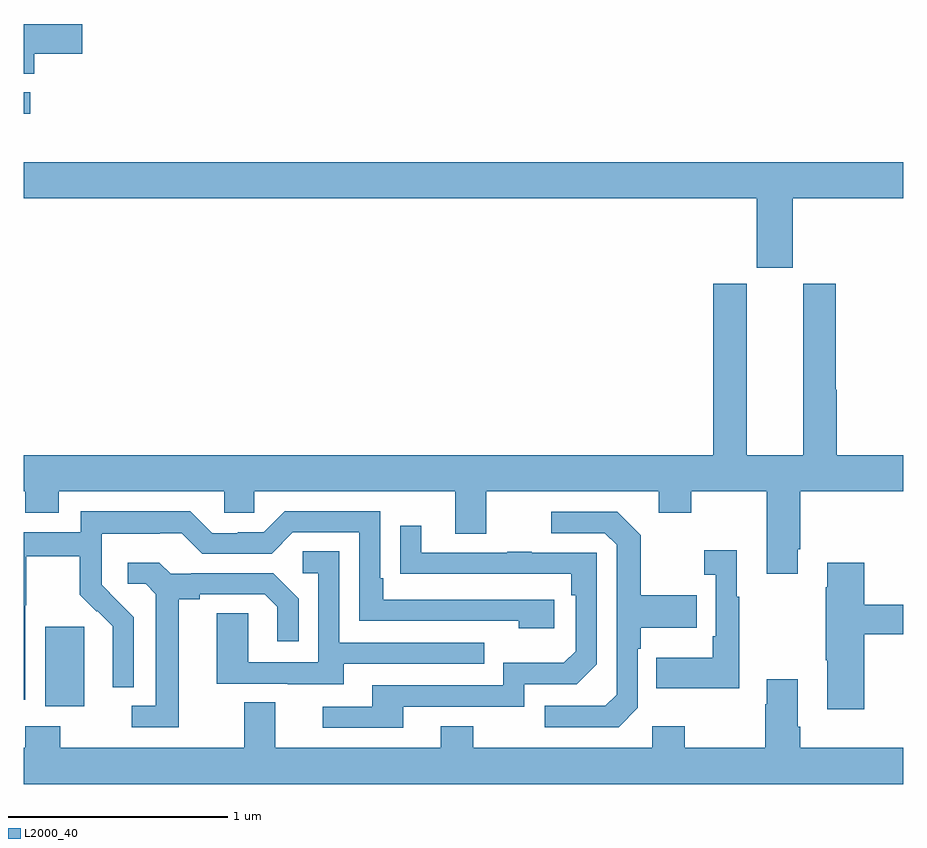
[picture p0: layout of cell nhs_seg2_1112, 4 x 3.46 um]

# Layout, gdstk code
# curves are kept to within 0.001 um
import gdstk
lib = gdstk.Library(unit=1e-6, precision=1e-09)
def R(c, l, rs):  # rectangles x0, y0, x1, y1
    for r in rs: c.add(gdstk.rectangle(r[:2], r[2:], *l))
def P(c, l, *ps):  # polygons
    for p in ps: c.add(gdstk.Polygon(p, *l))
L2000_40 = (2000, 40)

nhs_seg2_1112 = lib.new_cell('nhs_seg2_1112')
R(nhs_seg2_1112, L2000_40, [(169.097,606.698,169.276,607.059), (169,609.391,169.03,609.489)])
P(nhs_seg2_1112, L2000_40, [(169.049,609.665),(169.267,609.665),(169.267,609.8),(169,609.8),(169,609.574),(169.049,609.574)],
  [(172.498,609.008),(173,609.008),(173,609.172),(169,609.172),(169,609.008),(172.334,609.008),(172.334,608.691),(172.498,608.691)],
  [(172.519,607.411),(172.532,607.411),(172.532,607.676),(173,607.676),(173,607.84),(172.697,607.84),(172.697,608.136),(172.692,608.136),(172.692,608.619),(172.544,608.619),(172.544,607.84),(172.288,607.84),(172.288,608.619),(172.136,608.619),(172.136,607.84),(169,607.84),(169,607.676),(169.007,607.676),(169.007,607.577),(169.159,607.577),(169.159,607.676),(169.911,607.676),(169.911,607.578),(170.049,607.578),(170.049,607.676),(170.963,607.676),(170.963,607.482),(171.103,607.482),(171.103,607.676),(171.887,607.676),(171.887,607.577),(172.035,607.577),(172.035,607.676),(172.379,607.676),(172.379,607.299),(172.519,607.299)],
  [(169.008,607.156),(169.011,607.156),(169.011,607.38),(169.255,607.38),(169.255,607.205),(169.332,607.128),(169.335,607.131),(169.406,607.061),(169.406,606.938),(169.404,606.938),(169.404,606.784),(169.5,606.784),(169.5,607.102),(169.354,607.25),(169.354,607.347),(169.356,607.347),(169.356,607.481),(169.619,607.481),(169.619,607.485),(169.719,607.485),(169.812,607.392),(170.127,607.392),(170.223,607.488),(170.526,607.488),(170.526,607.086),(171.251,607.086),(171.251,607.052),(171.412,607.052),(171.412,607.182),(170.635,607.182),(170.635,607.279),(170.622,607.279),(170.622,607.584),(170.187,607.584),(170.091,607.488),(169.973,607.488),(169.973,607.485),(169.857,607.485),(169.757,607.585),(169.26,607.585),(169.26,607.488),(169,607.488),(169,606.727),(169.008,606.727)],
  [(171.792,606.69),(171.792,606.959),(171.805,606.959),(171.805,607.055),(172.061,607.055),(172.061,607.203),(171.805,607.203),(171.805,607.475),(171.699,607.581),(171.399,607.581),(171.399,607.485),(171.642,607.485),(171.696,607.431),(171.696,606.75),(171.645,606.699),(171.369,606.699),(171.369,606.603),(171.705,606.603)],
  [(170.725,606.696),(171.276,606.696),(171.276,606.798),(171.516,606.798),(171.606,606.888),(171.606,607.395),(171.311,607.395),(171.311,607.4),(171.199,607.4),(171.199,607.395),(170.809,607.395),(170.809,607.519),(170.713,607.519),(170.713,607.3),(171.49,607.299),(171.49,607.202),(171.51,607.202),(171.51,606.948),(171.457,606.895),(171.18,606.895),(171.18,606.792),(170.585,606.792),(170.585,606.696),(170.361,606.696),(170.361,606.6),(170.725,606.6)],
  [(172.255,607.195),(172.243,607.195),(172.243,607.408),(172.095,607.408),(172.095,607.295),(172.146,607.295),(172.146,607.015),(172.134,607.015),(172.134,606.919),(171.877,606.919),(171.877,606.779),(172.255,606.779)],
  [(170.455,606.891),(171.095,606.891),(171.095,606.987),(170.436,606.987),(170.436,607.403),(170.268,607.403),(170.268,607.302),(170.34,607.302),(170.34,606.897),(170.022,606.897),(170.022,607.121),(169.877,607.121),(169.877,606.801),(170.201,606.801),(170.201,606.797),(170.455,606.797)],
  [(172.823,607.024),(173,607.024),(173,607.16),(172.823,607.16),(172.823,607.351),(172.655,607.351),(172.655,607.238),(172.648,607.238),(172.648,606.907),(172.655,606.907),(172.655,606.684),(172.823,606.684)],
  [(169.705,607.184),(169.801,607.184),(169.801,607.206),(170.096,607.206),(170.153,607.149),(170.153,606.993),(170.25,606.993),(170.25,607.186),(170.134,607.302),(169.762,607.302),(169.762,607.299),(169.668,607.299),(169.616,607.351),(169.473,607.351),(169.473,607.254),(169.554,607.254),(169.601,607.207),(169.601,606.699),(169.491,606.699),(169.491,606.603),(169.705,606.603)],
  [(173,606.508),(172.532,606.508),(172.532,606.604),(172.519,606.604),(172.519,606.82),(172.379,606.82),(172.379,606.707),(172.372,606.707),(172.372,606.508),(172.005,606.508),(172.005,606.607),(171.858,606.607),(171.858,606.508),(171.045,606.508),(171.045,606.607),(170.897,606.607),(170.897,606.508),(170.143,606.508),(170.143,606.716),(170.003,606.716),(170.003,606.508),(169.167,606.508),(169.167,606.607),(169.007,606.607),(169.007,606.508),(169,606.508),(169,606.344),(173,606.344)])

lib.write_gds('nhs_seg2_1112.gds')
